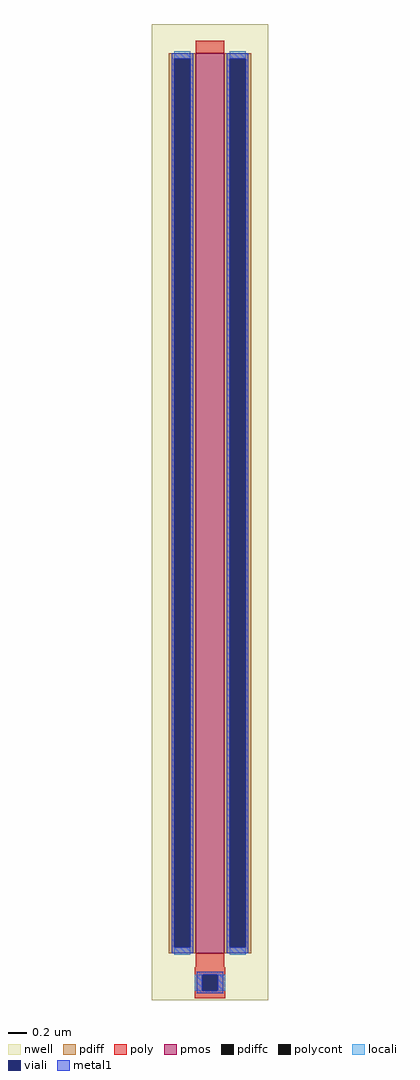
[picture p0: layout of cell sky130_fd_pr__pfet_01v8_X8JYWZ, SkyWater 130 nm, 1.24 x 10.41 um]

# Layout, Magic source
magic
tech sky130A
<< nwell >>
rect -62 -512 62 529
<< pmos >>
rect -15 -462 15 498
<< pdiff >>
rect -44 492 -15 498
rect -44 -456 -38 492
rect -21 -456 -15 492
rect -44 -462 -15 -456
rect 15 492 44 498
rect 15 -456 21 492
rect 38 -456 44 492
rect 15 -462 44 -456
<< pdiffc >>
rect -38 -456 -21 492
rect 21 -456 38 492
<< poly >>
rect -15 498 15 511
rect -15 -477 15 -462
rect -16 -485 16 -477
rect -16 -502 -8 -485
rect 8 -502 16 -485
rect -16 -510 16 -502
<< polycont >>
rect -8 -502 8 -485
<< locali >>
rect -38 492 -21 500
rect -38 -464 -21 -456
rect 21 492 38 500
rect 21 -464 38 -456
rect -16 -502 -8 -485
rect 8 -502 16 -485
<< viali >>
rect -38 -456 -21 492
rect 21 -456 38 492
rect -8 -502 8 -485
<< metal1 >>
rect -41 492 -18 498
rect -41 -456 -38 492
rect -21 -456 -18 492
rect -41 -462 -18 -456
rect 18 492 41 498
rect 18 -456 21 492
rect 38 -456 41 492
rect 18 -462 41 -456
rect -14 -485 14 -482
rect -14 -502 -8 -485
rect 8 -502 14 -485
rect -14 -505 14 -502
<< properties >>
string gencell sky130_fd_pr__pfet_01v8
string library sky130
string parameters w 9.6 l 0.3 m 1 nf 1 diffcov 100 polycov 100 guard 0 glc 1 grc 1 gtc 1 gbc 1 tbcov 100 rlcov 100 topc 0 botc 1 poverlap 0 doverlap 1 lmin 0.15 wmin 0.42 compatible {sky130_fd_pr__pfet_01v8  sky130_fd_pr__pfet_01v8_lvt sky130_fd_pr__pfet_01v8_hvt  sky130_fd_pr__pfet_g5v0d10v5} full_metal 1 viasrc 100 viadrn 100 viagate 100 viagb 0 viagr 0 viagl 0 viagt 0
<< end >>
